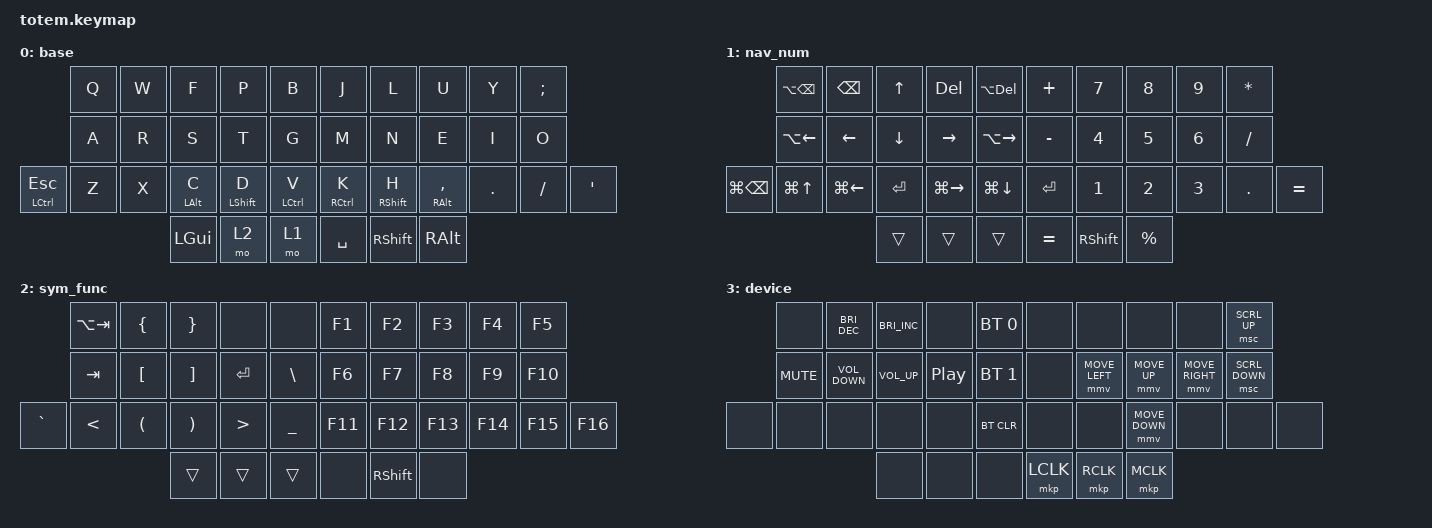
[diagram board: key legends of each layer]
//
//                                                        ▀▀▀▀▀     ▀▀▀▀▀          ▀▀█▀▀
//                                                        ▄▀▀▀▄  ▄  ▄▀▀▀▄  ▄  ▄▀▀▀▄  █  ▄▀▀▀▄
//                                                        █   █  █  █   █  █  █   █  █  █   █
//                                                         ▀▀▀   █   ▀▀▀   █   ▀▀▀   ▀   ▀▀▀
//                                                               █      ▄▄▄█▄▄▄    █   █  
//                                                               ▀      █  █  █     █▄█
//                                                             ▀▀▀▀▀    █  █  █      ▀
//                                                                      ▀  ▀  ▀
//
// ▄▄▄▄▄▄▄▄▄▄▄▄▄▄▄▄▄▄▄▄▄▄▄▄▄▄▄▄▄▄▄▄▄▄▄▄▄▄▄▄▄▄▄▄▄▄▄▄▄▄▄▄▄▄▄▄▄▄▄▄▄▄▄▄▄▄▄▄▄▄▄▄▄▄▄▄▄▄▄▄▄▄▄▄▄▄▄▄▄▄▄▄▄▄▄▄▄▄▄▄▄▄▄▄▄▄▄▄▄▄▄▄▄▄▄▄▄▄▄▄▄▄▄▄▄▄▄▄▄▄▄▄▄▄▄▄▄▄▄▄▄▄▄▄▄▄▄▄▄

#include <behaviors.dtsi>
#include <dt-bindings/zmk/bt.h>
#include <dt-bindings/zmk/keys.h>
#include <dt-bindings/zmk/pointing.h>

/ {
    combos {
        compatible = "zmk,combos";

        combo_backspace {
            bindings = <&kp BACKSPACE>;
            key-positions = <5 6>;
        };

        combo_tab {
            bindings = <&kp TAB>;
            key-positions = <4 3>;
        };
    };

    keymap {
        compatible = "zmk,keymap";

        base {
            bindings = <
                  &kp Q  &kp W  &kp F           &kp P             &kp B                 &kp J                &kp L              &kp U                &kp Y    &kp SEMI
                  &kp A  &kp R  &kp S           &kp T             &kp G                 &kp M                &kp N              &kp E                &kp I    &kp O
&mt LCTRL ESCAPE  &kp Z  &kp X  &mt LEFT_ALT C  &mt LEFT_SHIFT D  &mt LEFT_CONTROL V    &mt RIGHT_CONTROL K  &mt RIGHT_SHIFT H  &mt RIGHT_ALT COMMA  &kp DOT  &kp FSLH  &kp APOS
                                &kp LGUI        &mo 2             &mo 1                 &kp SPACE            &kp RIGHT_SHIFT    &kp RIGHT_ALT
            >;
        };

        nav_num {
            bindings = <
                   &kp LA(BACKSPACE)   &kp BACKSPACE  &kp UP     &kp DELETE     &kp LA(DELETE)        &kp PLUS   &kp N7           &kp NUMBER_8  &kp NUMBER_9  &kp ASTERISK
                   &kp LA(LEFT_ARROW)  &kp LEFT       &kp DOWN   &kp RIGHT      &kp LA(RIGHT)         &kp MINUS  &kp NUMBER_4     &kp N5        &kp NUMBER_6  &kp SLASH
&kp LG(BACKSPACE)  &kp LG(UP_ARROW)    &kp LG(LEFT)   &kp ENTER  &kp LG(RIGHT)  &kp LG(DOWN_ARROW)    &kp ENTER  &kp NUMBER_1     &kp NUMBER_2  &kp NUMBER_3  &kp PERIOD    &kp EQUAL
                                                      &trans     &trans         &trans                &kp EQUAL  &kp RIGHT_SHIFT  &kp PERCENT
            >;
        };

        sym_func {
            bindings = <
           &kp LA(TAB)    &kp LEFT_BRACE        &kp RIGHT_BRACE        &none             &none             &kp F1   &kp F2           &kp F3   &kp F4   &kp F5
           &kp TAB        &kp LBKT              &kp RBKT               &kp ENTER         &kp BSLH          &kp F6   &kp F7           &kp F8   &kp F9   &kp F10
&kp GRAVE  &kp LESS_THAN  &kp LEFT_PARENTHESIS  &kp RIGHT_PARENTHESIS  &kp GREATER_THAN  &kp UNDERSCORE    &kp F11  &kp F12          &kp F13  &kp F14  &kp F15  &kp F16
                                                &trans                 &trans            &trans            &none    &kp RIGHT_SHIFT  &none
            >;
        };

        device {
            bindings = <
       &none       &kp C_BRIGHTNESS_DEC  &kp C_BRIGHTNESS_INC  &none             &bt BT_SEL 0    &none      &none           &none           &none            &msc SCRL_UP
       &kp K_MUTE  &kp C_VOLUME_DOWN     &kp C_VOLUME_UP       &kp C_PLAY_PAUSE  &bt BT_SEL 1    &none      &mmv MOVE_LEFT  &mmv MOVE_UP    &mmv MOVE_RIGHT  &msc SCRL_DOWN
&none  &none       &none                 &none                 &none             &bt BT_CLR      &none      &none           &mmv MOVE_DOWN  &none            &none           &none
                                         &none                 &none             &none           &mkp LCLK  &mkp RCLK       &mkp MCLK
            >;
        };

        extra1 { status = "reserved"; };

        extra2 { status = "reserved"; };

        extra3 { status = "reserved"; };
    };

    conditional_layers {
        compatible = "zmk,conditional-layers";

        device {
            if-layers = <1 2>;
            then-layer = <3>;
        };
    };
};
